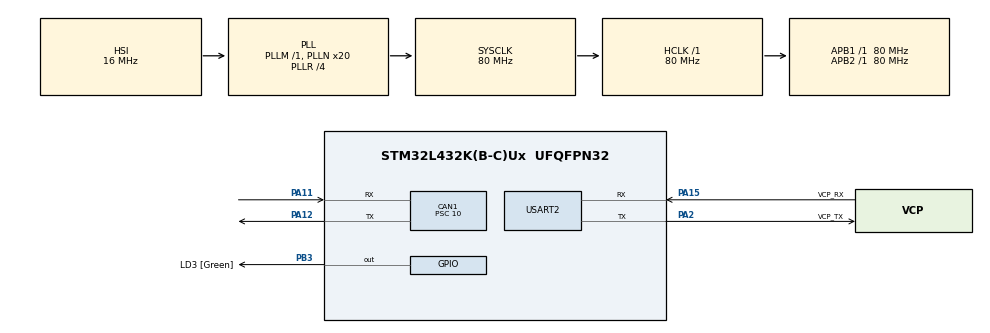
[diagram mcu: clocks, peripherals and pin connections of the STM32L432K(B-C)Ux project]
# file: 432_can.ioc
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Mcu.Family=STM32L4
RCC.MSI_VALUE=4000000
RCC.PLLSourceVirtual=RCC_PLLSOURCE_HSI
PA14\ (JTCK-SWCLK).Mode=Serial_Wire
RCC.CortexFreq_Value=80000000
CAN1.CalculateBaudRate=500000
PA0.GPIO_Label=MCO [High speed clock in]
PA11.Mode=CAN_Activate
PC15-OSC32_OUT\ (PC15).Signal=RCC_OSC32_OUT
PA15\ (JTDI).Signal=USART2_RX
PC15-OSC32_OUT\ (PC15).Mode=LSE-External-Oscillator
PA14\ (JTCK-SWCLK).GPIO_Label=SWCLK
PB3\ (JTDO-TRACESWO).GPIO_Label=LD3 [Green]
RCC.SYSCLKSource=RCC_SYSCLKSOURCE_PLLCLK
ProjectManager.StackSize=0x400
PB3\ (JTDO-TRACESWO).Signal=GPIO_Output
PC14-OSC32_IN\ (PC14).Mode=LSE-External-Oscillator
PA14\ (JTCK-SWCLK).Signal=SYS_JTCK-SWCLK
RCC.HSI16_VALUE=16000000
PA15\ (JTDI).Mode=Asynchronous
PA12.Signal=CAN1_TX
CAN1.BS2=CAN_BS2_2TQ
CAN1.BS1=CAN_BS1_13TQ
ProjectManager.TargetToolchain=STM32CubeIDE
RCC.HCLKFreq_Value=80000000
RCC.APB2TimFreq_Value=80000000
RCC.USBFreq_Value=64000000
RCC.AHBFreq_Value=80000000
RCC.HSE_VALUE=8000000
board=NUCLEO-L432KC
USART2.VirtualMode-Asynchronous=VM_ASYNC
RCC.VCOOutputFreq_Value=320000000
RCC.PLLMUL=RCC_PLLMUL_4
RCC.APB2Freq_Value=80000000
PA13\ (JTMS-SWDIO).GPIO_Label=SWDIO
RCC.ADCFreq_Value=64000000
PA0.Mode=HSE-External-Clock-Source-for-LittleOrca
PA15\ (JTDI).GPIO_Label=VCP_RX
Mcu.Name=STM32L432K(B-C)Ux
PA2.Signal=USART2_TX
PA0.Signal=RCC_CK_IN
PA13\ (JTMS-SWDIO).Mode=Serial_Wire
RCC.SYSCLKFreq_VALUE=80000000
CAN1.Prescaler=10
Mcu.Package=UFQFPN32
PA12.Mode=CAN_Activate
PC14-OSC32_IN\ (PC14).Signal=RCC_OSC32_IN
PA2.GPIO_Label=VCP_TX
PA11.Signal=CAN1_RX
ProjectManager.HeapSize=0x200
RCC.HSI_VALUE=16000000
NVIC.PriorityGroup=NVIC_PRIORITYGROUP_4
RCC.PLLR=RCC_PLLR_DIV4
RCC.PLLN=20
RCC.APB1TimFreq_Value=80000000
PA2.Mode=Asynchronous
PA13\ (JTMS-SWDIO).Signal=SYS_JTMS-SWDIO
RCC.APB1Freq_Value=80000000
CAN1.CalculateTimeBit=2000.00
RCC.HSI48_VALUE=48000000
CAN1.CalculateTimeQuantum=125.0

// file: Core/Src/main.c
/* USER CODE BEGIN Header */
/**
  ******************************************************************************
  * @file           : main.c
  * @brief          : Main program body
  ******************************************************************************
  * @attention
  *
  * <h2><center>&copy; Copyright (c) 2021 STMicroelectronics.
  * All rights reserved.</center></h2>
  *
  * This software component is licensed by ST under BSD 3-Clause license,
  * the "License"; You may not use this file except in compliance with the
  * License. You may obtain a copy of the License at:
  *                        opensource.org/licenses/BSD-3-Clause
  *
  ******************************************************************************
  */
/* USER CODE END Header */
#include "main.h"

CAN_HandleTypeDef hcan1;

UART_HandleTypeDef huart2;

/* USER CODE BEGIN PV */

static CAN_RxHeaderTypeDef RxHeader;

static uint8_t RxData[8];

static CAN_TxHeaderTypeDef TxHeader;
static uint32_t TxMailbox;
static uint8_t TxData[8];

/* USER CODE END PV */

void SystemClock_Config(void);
static void MX_GPIO_Init(void);
static void MX_USART2_UART_Init(void);
static void MX_CAN1_Init(void);

int main(void)
{

  /* MCU Configuration--------------------------------------------------------*/

  /* Reset of all peripherals, Initializes the Flash interface and the Systick. */
  HAL_Init();

  /* Configure the system clock */
  SystemClock_Config();

  /* Initialize all configured peripherals */
  MX_GPIO_Init();
  MX_USART2_UART_Init();
  MX_CAN1_Init();

  /* Infinite loop */
  /* USER CODE BEGIN WHILE */
  while (1)
  {
	  HAL_Delay(1000);
	  static uint8_t counter = 0;
	  //	if(GPIO_Pin == B1_Pin)
	  	{

	  		TxData[0] = counter++;
	  		TxHeader.DLC = 1;
	  		if (HAL_CAN_AddTxMessage(&hcan1, &TxHeader, TxData, &TxMailbox) != HAL_OK)
	  		{
	  		    Error_Handler();
	  		}
	  	}
	  	Blink(10);
    /* USER CODE END WHILE */

  }
}

void SystemClock_Config(void)
{
  RCC_OscInitTypeDef RCC_OscInitStruct = {0};
  RCC_ClkInitTypeDef RCC_ClkInitStruct = {0};
  RCC_PeriphCLKInitTypeDef PeriphClkInit = {0};

  /** Initializes the RCC Oscillators according to the specified parameters
  * in the RCC_OscInitTypeDef structure.
  */
  RCC_OscInitStruct.OscillatorType = RCC_OSCILLATORTYPE_HSI;
  RCC_OscInitStruct.HSIState = RCC_HSI_ON;
  RCC_OscInitStruct.HSICalibrationValue = RCC_HSICALIBRATION_DEFAULT;
  RCC_OscInitStruct.PLL.PLLState = RCC_PLL_ON;
  RCC_OscInitStruct.PLL.PLLSource = RCC_PLLSOURCE_HSI;
  RCC_OscInitStruct.PLL.PLLM = 1;
  RCC_OscInitStruct.PLL.PLLN = 20;
  RCC_OscInitStruct.PLL.PLLP = RCC_PLLP_DIV7;
  RCC_OscInitStruct.PLL.PLLQ = RCC_PLLQ_DIV2;
  RCC_OscInitStruct.PLL.PLLR = RCC_PLLR_DIV4;
  if (HAL_RCC_OscConfig(&RCC_OscInitStruct) != HAL_OK)
  {
    Error_Handler();
  }
  /** Initializes the CPU, AHB and APB buses clocks
  */
  RCC_ClkInitStruct.ClockType = RCC_CLOCKTYPE_HCLK|RCC_CLOCKTYPE_SYSCLK
                              |RCC_CLOCKTYPE_PCLK1|RCC_CLOCKTYPE_PCLK2;
  RCC_ClkInitStruct.SYSCLKSource = RCC_SYSCLKSOURCE_PLLCLK;
  RCC_ClkInitStruct.AHBCLKDivider = RCC_SYSCLK_DIV1;
  RCC_ClkInitStruct.APB1CLKDivider = RCC_HCLK_DIV1;
  RCC_ClkInitStruct.APB2CLKDivider = RCC_HCLK_DIV1;

  if (HAL_RCC_ClockConfig(&RCC_ClkInitStruct, FLASH_LATENCY_4) != HAL_OK)
  {
    Error_Handler();
  }
  PeriphClkInit.PeriphClockSelection = RCC_PERIPHCLK_USART2;
  PeriphClkInit.Usart2ClockSelection = RCC_USART2CLKSOURCE_PCLK1;
  if (HAL_RCCEx_PeriphCLKConfig(&PeriphClkInit) != HAL_OK)
  {
    Error_Handler();
  }
  /** Configure the main internal regulator output voltage
  */
  if (HAL_PWREx_ControlVoltageScaling(PWR_REGULATOR_VOLTAGE_SCALE1) != HAL_OK)
  {
    Error_Handler();
  }
}

static void MX_CAN1_Init(void)
{

  hcan1.Instance = CAN1;
  hcan1.Init.Prescaler = 10;
  hcan1.Init.Mode = CAN_MODE_NORMAL;
  hcan1.Init.SyncJumpWidth = CAN_SJW_1TQ;
  hcan1.Init.TimeSeg1 = CAN_BS1_13TQ;
  hcan1.Init.TimeSeg2 = CAN_BS2_2TQ;
  hcan1.Init.TimeTriggeredMode = DISABLE;
  hcan1.Init.AutoBusOff = DISABLE;
  hcan1.Init.AutoWakeUp = DISABLE;
  hcan1.Init.AutoRetransmission = DISABLE;
  hcan1.Init.ReceiveFifoLocked = DISABLE;
  hcan1.Init.TransmitFifoPriority = DISABLE;
  if (HAL_CAN_Init(&hcan1) != HAL_OK)
  {
    Error_Handler();
  }
  /* USER CODE BEGIN CAN1_Init 2 */

  CAN_FilterTypeDef canfilterconfig;

    canfilterconfig.FilterActivation = CAN_FILTER_ENABLE;
    canfilterconfig.FilterBank = 10;
    canfilterconfig.FilterFIFOAssignment = CAN_RX_FIFO0;
    canfilterconfig.FilterIdHigh = 0;
    canfilterconfig.FilterIdLow = 0x0000;
    canfilterconfig.FilterMaskIdHigh = 0;
    canfilterconfig.FilterMaskIdLow = 0x0000;
    canfilterconfig.FilterMode = CAN_FILTERMODE_IDMASK;
    canfilterconfig.FilterScale = CAN_FILTERSCALE_32BIT;
    //canfilterconfig.SlaveStartFilterBank = 0;

    HAL_CAN_ConfigFilter(&hcan1, &canfilterconfig);

    HAL_CAN_Start(&hcan1);

    TxHeader.StdId = 1337;
    TxHeader.ExtId = 0;
    TxHeader.IDE = CAN_ID_STD;
    TxHeader.RTR = CAN_RTR_DATA;

  /* USER CODE END CAN1_Init 2 */

}

static void MX_USART2_UART_Init(void)
{

  huart2.Instance = USART2;
  huart2.Init.BaudRate = 115200;
  huart2.Init.WordLength = UART_WORDLENGTH_8B;
  huart2.Init.StopBits = UART_STOPBITS_1;
  huart2.Init.Parity = UART_PARITY_NONE;
  huart2.Init.Mode = UART_MODE_TX_RX;
  huart2.Init.HwFlowCtl = UART_HWCONTROL_NONE;
  huart2.Init.OverSampling = UART_OVERSAMPLING_16;
  huart2.Init.OneBitSampling = UART_ONE_BIT_SAMPLE_DISABLE;
  huart2.AdvancedInit.AdvFeatureInit = UART_ADVFEATURE_NO_INIT;
  if (HAL_UART_Init(&huart2) != HAL_OK)
  {
    Error_Handler();
  }

}

static void MX_GPIO_Init(void)
{
  GPIO_InitTypeDef GPIO_InitStruct = {0};

  /* GPIO Ports Clock Enable */
  __HAL_RCC_GPIOC_CLK_ENABLE();
  __HAL_RCC_GPIOA_CLK_ENABLE();
  __HAL_RCC_GPIOB_CLK_ENABLE();

  /*Configure GPIO pin Output Level */
  HAL_GPIO_WritePin(LD3_GPIO_Port, LD3_Pin, GPIO_PIN_RESET);

  /*Configure GPIO pin : LD3_Pin */
  GPIO_InitStruct.Pin = LD3_Pin;
  GPIO_InitStruct.Mode = GPIO_MODE_OUTPUT_PP;
  GPIO_InitStruct.Pull = GPIO_NOPULL;
  GPIO_InitStruct.Speed = GPIO_SPEED_FREQ_LOW;
  HAL_GPIO_Init(LD3_GPIO_Port, &GPIO_InitStruct);

}

/* USER CODE BEGIN 4 */

void HAL_CAN_RxFifo0MsgPendingCallback(CAN_HandleTypeDef *hcan)
{
	if (HAL_CAN_GetRxMessage(&hcan1, CAN_RX_FIFO0, &RxHeader, RxData) != HAL_OK)
	  {
	    Error_Handler();
	  }
	Blink(10);
}

/*void HAL_GPIO_EXTI_Callback(uint16_t GPIO_Pin)
{
	static uint8_t counter = 0;
	if(GPIO_Pin == B1_Pin)
	{

		TxData[0] = counter++;
		TxHeader.DLC = 1;
		if (HAL_CAN_AddTxMessage(&hcan1, &TxHeader, TxData, &TxMailbox) != HAL_OK)
		{
		    Error_Handler();
		}
	}
	Blink(100);
}
*/
void Blink(uint16_t ms)
{
	HAL_GPIO_WritePin(LD3_GPIO_Port, LD3_Pin, GPIO_PIN_SET);
	HAL_Delay(ms);
	HAL_GPIO_WritePin(LD3_GPIO_Port, LD3_Pin, GPIO_PIN_RESET);
}

/* USER CODE END 4 */

void Error_Handler(void)
{
  __disable_irq();
  while (1)
  {
  }
}

/************************ (C) COPYRIGHT STMicroelectronics *****END OF FILE****/
